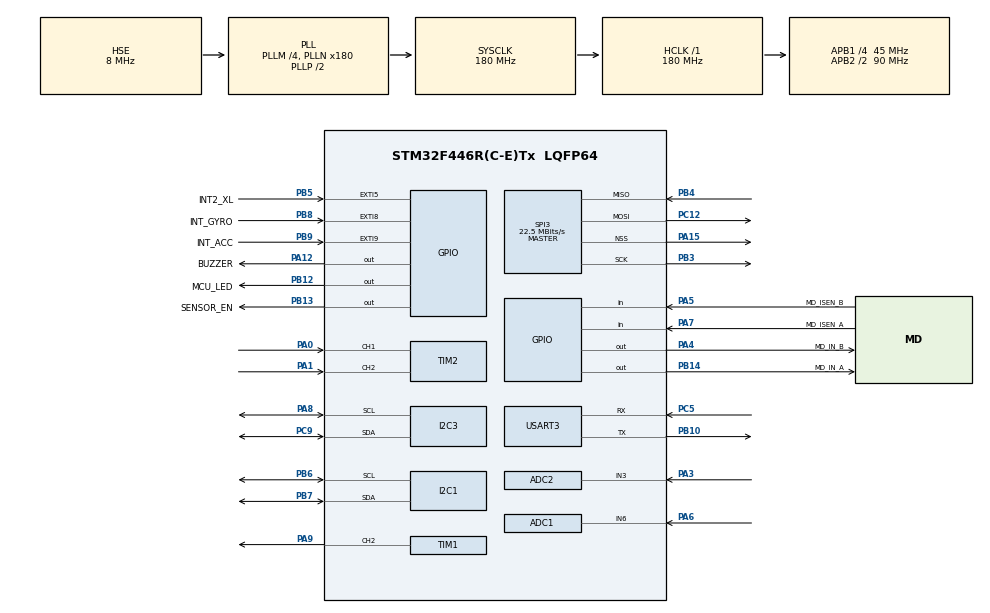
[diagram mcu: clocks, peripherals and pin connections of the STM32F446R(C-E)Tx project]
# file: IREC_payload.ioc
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ADC1.Channel-0\#ChannelRegularConversion=ADC_CHANNEL_6
ADC1.ContinuousConvMode=DISABLE
ADC1.DiscontinuousConvMode=DISABLE
ADC1.InjNumberOfConversion=0
ADC1.NbrOfConversion=1
ADC1.NbrOfConversionFlag=1
ADC1.Rank-0\#ChannelRegularConversion=1
ADC1.SamplingTime-0\#ChannelRegularConversion=ADC_SAMPLETIME_480CYCLES
ADC1.ScanConvMode=DISABLE
ADC1.master=1
ADC2.Channel-0\#ChannelRegularConversion=ADC_CHANNEL_3
ADC2.ContinuousConvMode=DISABLE
ADC2.NbrOfConversion=1
ADC2.NbrOfConversionFlag=1
ADC2.Rank-0\#ChannelRegularConversion=1
ADC2.Resolution=ADC_RESOLUTION_10B
ADC2.SamplingTime-0\#ChannelRegularConversion=ADC_SAMPLETIME_56CYCLES
ADC2.ScanConvMode=DISABLE
Mcu.Family=STM32F4
Mcu.Name=STM32F446R(C-E)Tx
Mcu.Package=LQFP64
NVIC.EXTI9_5_IRQn=true\:0\:0\:false\:false\:true\:true\:true\:true
NVIC.PriorityGroup=NVIC_PRIORITYGROUP_4
PA0-WKUP.Signal=S_TIM2_CH1_ETR
PA1.Signal=S_TIM2_CH2
PA12.GPIO_Label=BUZZER
PA12.Signal=GPIO_Output
PA13.Mode=Serial_Wire
PA13.Signal=SYS_JTMS-SWDIO
PA14.Mode=Serial_Wire
PA14.Signal=SYS_JTCK-SWCLK
PA15.Mode=NSS_Signal_Hard_Output
PA15.Signal=SPI3_NSS
PA3.Signal=ADCx_IN3
PA4.GPIO_Label=MD_IN_B
PA4.Signal=GPIO_Output
PA5.GPIO_Label=MD_ISEN_B
PA5.Signal=GPIO_Input
PA6.Signal=ADCx_IN6
PA7.GPIO_Label=MD_ISEN_A
PA7.Signal=GPIO_Input
PA8.Mode=I2C
PA8.Signal=I2C3_SCL
PA9.Signal=S_TIM1_CH2
PB10.Mode=Asynchronous
PB10.Signal=USART3_TX
PB12.GPIO_Label=MCU_LED
PB12.Signal=GPIO_Output
PB13.GPIO_Label=SENSOR_EN
PB13.Signal=GPIO_Output
PB14.GPIO_Label=MD_IN_A
PB14.Signal=GPIO_Output
PB3.Mode=Full_Duplex_Master
PB3.Signal=SPI3_SCK
PB4.Mode=Full_Duplex_Master
PB4.Signal=SPI3_MISO
PB5.GPIO_Label=INT2_XL
PB5.Signal=GPXTI5
PB6.Mode=I2C
PB6.Signal=I2C1_SCL
PB7.Mode=I2C
PB7.Signal=I2C1_SDA
PB8.GPIO_Label=INT_GYRO
PB8.Signal=GPXTI8
PB9.GPIO_Label=INT_ACC
PB9.Signal=GPXTI9
PC12.Mode=Full_Duplex_Master
PC12.Signal=SPI3_MOSI
PC14-OSC32_IN.Mode=LSE-External-Oscillator
PC14-OSC32_IN.Signal=RCC_OSC32_IN
PC15-OSC32_OUT.Mode=LSE-External-Oscillator
PC15-OSC32_OUT.Signal=RCC_OSC32_OUT
PC5.Mode=Asynchronous
PC5.Signal=USART3_RX
PC9.Mode=I2C
PC9.Signal=I2C3_SDA
PH0-OSC_IN.Mode=HSE-External-Oscillator
PH0-OSC_IN.Signal=RCC_OSC_IN
PH1-OSC_OUT.Mode=HSE-External-Oscillator
PH1-OSC_OUT.Signal=RCC_OSC_OUT
ProjectManager.HeapSize=0x200
ProjectManager.StackSize=0x400
ProjectManager.TargetToolchain=STM32CubeIDE
RCC.AHBFreq_Value=180000000
RCC.APB1CLKDivider=RCC_HCLK_DIV4
RCC.APB1Freq_Value=45000000
RCC.APB1TimFreq_Value=90000000
RCC.APB2CLKDivider=RCC_HCLK_DIV2
RCC.APB2Freq_Value=90000000
RCC.APB2TimFreq_Value=180000000
RCC.CortexFreq_Value=180000000
RCC.HCLKFreq_Value=180000000
RCC.HSE_VALUE=8000000
RCC.PLLM=4
RCC.PLLN=180
RCC.PLLSourceVirtual=RCC_PLLSOURCE_HSE
RCC.SYSCLKFreq_VALUE=180000000
RCC.SYSCLKSource=RCC_SYSCLKSOURCE_PLLCLK
RCC.USBFreq_Value=180000000
RCC.VCOOutputFreq_Value=360000000
SH.ADCx_IN3.0=ADC2_IN3,IN3
SH.ADCx_IN6.0=ADC1_IN6,IN6
SH.S_TIM1_CH2.0=TIM1_CH2,PWM Generation2 CH2
SH.S_TIM2_CH1_ETR.0=TIM2_CH1,Encoder_Interface
SH.S_TIM2_CH2.0=TIM2_CH2,Encoder_Interface
SPI3.BaudRatePrescaler=SPI_BAUDRATEPRESCALER_2
SPI3.CalculateBaudRate=22.5 MBits/s
SPI3.Direction=SPI_DIRECTION_2LINES
SPI3.Mode=SPI_MODE_MASTER
SPI3.VirtualNSS=VM_NSSHARD
SPI3.VirtualType=VM_MASTER
TIM1.Channel-PWM\ Generation2\ CH2=TIM_CHANNEL_2
TIM1.Period=99
TIM1.Prescaler=179
TIM2.IC1Filter=10
TIM2.IC2Filter=10
USART3.VirtualMode=VM_ASYNC
VP_TIM1_VS_ClockSourceINT.Mode=Internal
board=custom

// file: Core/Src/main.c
/* USER CODE BEGIN Header */
/**
  ******************************************************************************
  * @file           : main.c
  * @brief          : Main program body
  ******************************************************************************
  * @attention
  *
  * Copyright (c) 2025 STMicroelectronics.
  * All rights reserved.
  *
  * This software is licensed under terms that can be found in the LICENSE file
  * in the root directory of this software component.
  * If no LICENSE file comes with this software, it is provided AS-IS.
  *
  ******************************************************************************
  */
/* USER CODE END Header */
#include "main.h"
#include "adc.h"
#include "i2c.h"
#include "spi.h"
#include "tim.h"
#include "usart.h"
#include "gpio.h"

/* USER CODE BEGIN Includes */
#include "stdio.h"
#include "string.h"
#include "bmi088.h"
/* USER CODE END Includes */

/* USER CODE BEGIN PD */
#define TTL_HNDLR		huart3
#define SD_CARD_HNDLR	hspi3
#define MAG_I2C_HNDLR	hi2c3
#define IMU_I2C_HNDLR	hi2c1
#define VLT_ADC_HNDLR	hadc1
#define AMP_ADC_HNDLR	hadc2

/* USER CODE END PD */

/* USER CODE BEGIN PV */
bmi088_struct_t bmi_imu;
/* USER CODE END PV */

void SystemClock_Config(void);
/* USER CODE BEGIN PFP */
static uint8_t bmi_imu_init(void);
static void reg_3v3_on(void);
static void reg_3v3_off(void);
void serial_println(char* str);
/* USER CODE END PFP */

int main(void)
{
  /* USER CODE BEGIN 1 */
	uint8_t str[100];
  /* USER CODE END 1 */

  /* MCU Configuration--------------------------------------------------------*/

  /* Reset of all peripherals, Initializes the Flash interface and the Systick. */
  HAL_Init();

  /* Configure the system clock */
  SystemClock_Config();

  /* Initialize all configured peripherals */
  MX_GPIO_Init();
  MX_I2C1_Init();
  MX_I2C3_Init();
  MX_SPI3_Init();
  MX_USART3_UART_Init();
  MX_TIM1_Init();
  MX_ADC1_Init();
  MX_ADC2_Init();
  MX_TIM2_Init();
  /* USER CODE BEGIN 2 */
  HAL_NVIC_DisableIRQ(EXTI9_5_IRQn);

  //HAL_Delay(4000);

  reg_3v3_on();

  HAL_TIM_PWM_Start(&htim1, TIM_CHANNEL_2);
  HAL_TIM_Encoder_Start(&htim2, TIM_CHANNEL_ALL);

  //imu start
  if(!bmi_imu_init()){
	  serial_println("bmi fail");
  }
  else{
	  serial_println("bmi success");
  }

  bmi088_config(&bmi_imu);

  HAL_GPIO_WritePin(MD_IN_A_GPIO_Port, MD_IN_A_Pin, GPIO_PIN_SET);
  HAL_GPIO_WritePin(MD_IN_B_GPIO_Port, MD_IN_B_Pin, GPIO_PIN_RESET);

  uint32_t adc1;
  uint32_t adc2;

  /* USER CODE END 2 */

  /* Infinite loop */
  while (1)
  {

    /* USER CODE BEGIN 3 */
	  __HAL_TIM_SET_COMPARE(&htim1, TIM_CHANNEL_2, 100);
/*
	  HAL_ADC_Start(&VLT_ADC_HNDLR);
	  HAL_ADC_Start(&AMP_ADC_HNDLR);

	  HAL_ADC_PollForConversion(&VLT_ADC_HNDLR, 100);
	  adc1 = HAL_ADC_GetValue(&VLT_ADC_HNDLR);
	  float adc1_f = (float)adc1 - 25.0;
	  adc1_f = (adc1_f > 0) * adc1_f;
	  adc1_f	= adc1_f * 5.31;

	  HAL_ADC_PollForConversion(&AMP_ADC_HNDLR, 100);
	  adc2 = HAL_ADC_GetValue(&AMP_ADC_HNDLR);
	  float adc2_f = (float)adc2 * 0.015;

	  sprintf((char*)str, "adc1= %lu\n\r", adc1);
	  HAL_UART_Transmit(&huart3, str, strlen((char*)str), 50);

	  sprintf((char*)str, "adc2= %.2f\n\r", adc2_f);
	  HAL_UART_Transmit(&huart3, str, strlen((char*)str), 50);

	  uint8_t chip_id = bmi088_getGyroChipId();
	  sprintf((char*)str, "chip id =  %x\n\r", chip_id);
	  HAL_UART_Transmit(&huart3, str, strlen((char*)str), 50);
*/

//	  sprintf((char*)str, "encoder =  %lu\n\r", (TIM2->CNT)>>2);
//	  HAL_UART_Transmit(&TTL_HNDLR, str, strlen((char*)str), 50);

	  sprintf((char*)str, "bmi accel x =  %f\n\r", bmi_imu.acc_x);
	  HAL_UART_Transmit(&TTL_HNDLR, str, strlen((char*)str), 50);

	  HAL_UART_Transmit(&TTL_HNDLR, (uint8_t*)"---------------------------\r\n", strlen("---------------------------\r\n"), 50);

	  bmi088_update(&bmi_imu);

	  HAL_GPIO_WritePin(MCU_LED_GPIO_Port, MCU_LED_Pin, GPIO_PIN_SET);
	  HAL_GPIO_WritePin(BUZZER_GPIO_Port, BUZZER_Pin, GPIO_PIN_SET);
	  HAL_Delay(300);

	  HAL_GPIO_WritePin(MCU_LED_GPIO_Port, MCU_LED_Pin, GPIO_PIN_RESET);
	  HAL_GPIO_WritePin(BUZZER_GPIO_Port, BUZZER_Pin, GPIO_PIN_RESET);
	  HAL_Delay(300);
  }
  /* USER CODE END 3 */
}

void SystemClock_Config(void)
{
  RCC_OscInitTypeDef RCC_OscInitStruct = {0};
  RCC_ClkInitTypeDef RCC_ClkInitStruct = {0};

  /** Configure the main internal regulator output voltage
  */
  __HAL_RCC_PWR_CLK_ENABLE();
  __HAL_PWR_VOLTAGESCALING_CONFIG(PWR_REGULATOR_VOLTAGE_SCALE1);

  /** Initializes the RCC Oscillators according to the specified parameters
  * in the RCC_OscInitTypeDef structure.
  */
  RCC_OscInitStruct.OscillatorType = RCC_OSCILLATORTYPE_HSE;
  RCC_OscInitStruct.HSEState = RCC_HSE_ON;
  RCC_OscInitStruct.PLL.PLLState = RCC_PLL_ON;
  RCC_OscInitStruct.PLL.PLLSource = RCC_PLLSOURCE_HSE;
  RCC_OscInitStruct.PLL.PLLM = 4;
  RCC_OscInitStruct.PLL.PLLN = 180;
  RCC_OscInitStruct.PLL.PLLP = RCC_PLLP_DIV2;
  RCC_OscInitStruct.PLL.PLLQ = 2;
  RCC_OscInitStruct.PLL.PLLR = 2;
  if (HAL_RCC_OscConfig(&RCC_OscInitStruct) != HAL_OK)
  {
    Error_Handler();
  }

  /** Activate the Over-Drive mode
  */
  if (HAL_PWREx_EnableOverDrive() != HAL_OK)
  {
    Error_Handler();
  }

  /** Initializes the CPU, AHB and APB buses clocks
  */
  RCC_ClkInitStruct.ClockType = RCC_CLOCKTYPE_HCLK|RCC_CLOCKTYPE_SYSCLK
                              |RCC_CLOCKTYPE_PCLK1|RCC_CLOCKTYPE_PCLK2;
  RCC_ClkInitStruct.SYSCLKSource = RCC_SYSCLKSOURCE_PLLCLK;
  RCC_ClkInitStruct.AHBCLKDivider = RCC_SYSCLK_DIV1;
  RCC_ClkInitStruct.APB1CLKDivider = RCC_HCLK_DIV4;
  RCC_ClkInitStruct.APB2CLKDivider = RCC_HCLK_DIV2;

  if (HAL_RCC_ClockConfig(&RCC_ClkInitStruct, FLASH_LATENCY_5) != HAL_OK)
  {
    Error_Handler();
  }
}

/* USER CODE BEGIN 4 */

//BMI sensor initialize function.
uint8_t bmi_imu_init(void)
{
	//Acc config
	bmi_imu.deviceConfig.acc_bandwith = ACC_BWP_OSR4;
	bmi_imu.deviceConfig.acc_outputDateRate = ACC_ODR_200;
	bmi_imu.deviceConfig.acc_powerMode = ACC_PWR_SAVE_ACTIVE;
	bmi_imu.deviceConfig.acc_range = ACC_RANGE_12G;

	// Gyro config
	bmi_imu.deviceConfig.gyro_bandWidth = GYRO_BW_230;
	bmi_imu.deviceConfig.gyro_range = GYRO_RANGE_2000;
	bmi_imu.deviceConfig.gyro_powerMode = GYRO_LPM_NORMAL;

	bmi_imu.deviceConfig.acc_IRQ = EXTI9_5_IRQn;
	bmi_imu.deviceConfig.gyro_IRQ = EXTI9_5_IRQn;
	bmi_imu.deviceConfig.BMI_I2c = &IMU_I2C_HNDLR;

	return	bmi088_init(&bmi_imu);
}

//Pcb 3.3 v regulator on function.
void reg_3v3_on()
{
	HAL_GPIO_WritePin(SENSOR_EN_GPIO_Port, SENSOR_EN_Pin, GPIO_PIN_SET);
	HAL_Delay(50);
}

//Pcb 3.3 v regulator off function.
void reg_3v3_off()
{
	HAL_GPIO_WritePin(SENSOR_EN_GPIO_Port, SENSOR_EN_Pin, GPIO_PIN_RESET);
	HAL_Delay(50);
}

void serial_println(char* str)
{

	HAL_UART_Transmit(&TTL_HNDLR, (uint8_t*)str, strlen(str), 50);
	HAL_UART_Transmit(&TTL_HNDLR, (uint8_t*)"\r\n", 2, 50);
}

void HAL_GPIO_EXTI_Callback(uint16_t GPIO_Pin)
{
	if(GPIO_Pin == INT_ACC_Pin)
	{
		bmi_imu.rawDatas.isAccelUpdated = 1;
	}
	if(GPIO_Pin == INT_GYRO_Pin)
	{
		bmi_imu.rawDatas.isGyroUpdated = 1;
	}
}
/* USER CODE END 4 */

void Error_Handler(void)
{
  __disable_irq();
  while (1)
  {
  }
}
